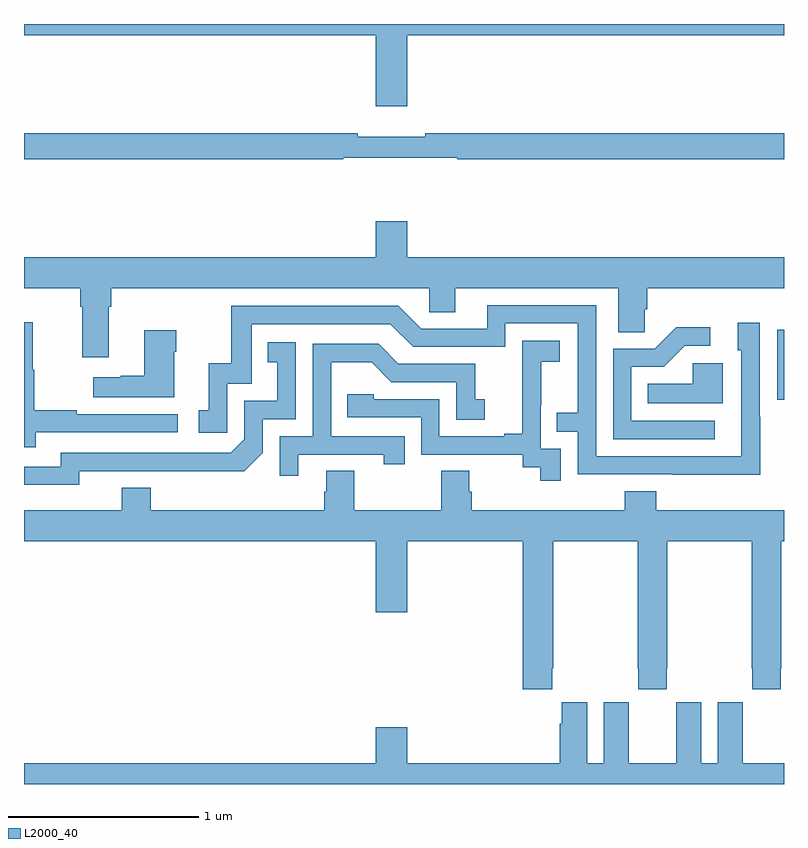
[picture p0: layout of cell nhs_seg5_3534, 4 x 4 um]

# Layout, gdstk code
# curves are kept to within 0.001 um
import gdstk
lib = gdstk.Library(unit=1e-6, precision=1e-09)
def R(c, l, rs):  # rectangles x0, y0, x1, y1
    for r in rs: c.add(gdstk.rectangle(r[:2], r[2:], *l))
def P(c, l, *ps):  # polygons
    for p in ps: c.add(gdstk.Polygon(p, *l))
L2000_40 = (2000, 40)

nhs_seg5_3534 = lib.new_cell('nhs_seg5_3534')
R(nhs_seg5_3534, L2000_40, [(322.965,874.821,323,875.19)])
P(nhs_seg5_3534, L2000_40, [(321.016,876.74),(323,876.74),(323,876.799),(319,876.799),(319,876.74),(320.852,876.74),(320.852,876.366),(321.016,876.366)],
  [(320.68,876.096),(321.28,876.096),(321.28,876.088),(323,876.088),(323,876.224),(321.112,876.224),(321.112,876.205),(320.756,876.205),(320.756,876.224),(319,876.224),(319,876.088),(320.68,876.088)],
  [(319.447,875.312),(319.46,875.312),(319.46,875.408),(321.132,875.408),(321.132,875.281),(321.271,875.281),(321.271,875.408),(322.127,875.408),(322.127,875.176),(322.266,875.176),(322.266,875.299),(322.28,875.299),(322.28,875.408),(323,875.408),(323,875.572),(321.016,875.572),(321.016,875.761),(320.852,875.761),(320.852,875.572),(319,875.572),(319,875.408),(319.295,875.408),(319.295,875.312),(319.307,875.312),(319.307,875.046),(319.447,875.046)],
  [(322.875,874.733),(322.872,874.733),(322.872,875.227),(322.757,875.227),(322.757,875.082),(322.776,875.082),(322.775,874.524),(322.011,874.524),(322.011,875.319),(321.437,875.319),(321.437,875.196),(321.09,875.196),(320.97,875.316),(320.091,875.316),(320.091,875.014),(319.973,875.014),(319.973,874.767),(319.92,874.767),(319.92,874.647),(320.07,874.647),(320.07,874.905),(320.199,874.905),(320.199,875.22),(320.928,875.22),(321.048,875.1),(321.534,875.1),(321.534,875.223),(321.915,875.223),(321.915,874.754),(321.805,874.754),(321.805,874.653),(321.915,874.653),(321.915,874.428),(322.875,874.427)],
  [(319.061,874.65),(319.81,874.65),(319.81,874.746),(319.277,874.746),(319.277,874.766),(319.054,874.766),(319.054,874.98),(319.046,874.98),(319.046,875.23),(319,875.23),(319,874.572),(319.061,874.572)],
  [(322.636,874.71),(322.197,874.71),(322.197,874.995),(322.366,874.995),(322.477,875.106),(322.612,875.106),(322.612,875.204),(322.433,875.204),(322.32,875.091),(322.101,875.091),(322.101,874.614),(322.636,874.614)],
  [(319.792,875.075),(319.8,875.075),(319.8,875.188),(319.634,875.188),(319.634,874.949),(319.508,874.949),(319.508,874.939),(319.365,874.939),(319.365,874.835),(319.792,874.835)],
  [(321.825,874.563),(321.72,874.563),(321.72,874.793),(321.722,874.793),(321.722,875.021),(321.82,875.021),(321.82,875.131),(321.622,875.131),(321.622,874.925),(321.623,874.925),(321.623,874.642),(321.527,874.642),(321.527,874.629),(321.186,874.629),(321.186,874.824),(320.841,874.824),(320.841,874.851),(320.701,874.851),(320.701,874.728),(321.09,874.728),(321.09,874.533),(321.624,874.533),(321.624,874.465),(321.717,874.465),(321.717,874.395),(321.825,874.395)],
  [(319.29,874.446),(320.158,874.445),(320.256,874.542),(320.256,874.719),(320.43,874.719),(320.43,875.125),(320.284,875.125),(320.284,875.019),(320.333,875.019),(320.333,874.815),(320.16,874.815),(320.16,874.614),(320.088,874.542),(319.194,874.542),(319.194,874.47),(319,874.47),(319,874.373),(319.29,874.373)],
  [(320.443,874.533),(320.894,874.533),(320.894,874.482),(321.005,874.482),(321.005,874.629),(320.616,874.629),(320.616,875.018),(320.83,875.018),(320.934,874.914),(321.276,874.914),(321.276,874.716),(321.424,874.716),(321.424,874.825),(321.375,874.825),(321.375,875.01),(320.971,875.01),(320.866,875.115),(320.52,875.115),(320.52,874.629),(320.346,874.629),(320.346,874.422),(320.443,874.422)],
  [(322.678,875.014),(322.521,875.014),(322.521,874.906),(322.282,874.906),(322.282,874.802),(322.678,874.802)],
  [(321.779,873.409),(321.786,873.409),(321.786,874.076),(322.231,874.076),(322.231,873.409),(322.233,873.409),(322.233,873.297),(322.383,873.297),(322.383,873.409),(322.386,873.409),(322.386,874.076),(322.831,874.076),(322.831,873.409),(322.833,873.409),(322.833,873.297),(322.983,873.297),(322.983,873.409),(322.986,873.409),(322.986,874.076),(323,874.076),(323,874.24),(322.328,874.24),(322.328,874.339),(322.163,874.339),(322.163,874.24),(321.356,874.24),(321.356,874.338),(321.343,874.338),(321.343,874.448),(321.196,874.448),(321.196,874.24),(320.739,874.24),(320.739,874.448),(320.591,874.448),(320.591,874.338),(320.579,874.338),(320.579,874.24),(319.667,874.24),(319.667,874.357),(319.514,874.357),(319.514,874.24),(319,874.24),(319,874.076),(320.852,874.076),(320.852,873.702),(321.016,873.702),(321.016,874.076),(321.626,874.076),(321.626,873.297),(321.779,873.297)],
  [(323,872.908),(322.783,872.908),(322.783,873.116),(322.782,873.116),(322.782,873.229),(322.652,873.229),(322.652,872.908),(322.564,872.908),(322.564,873.229),(322.434,873.229),(322.434,873.116),(322.433,873.116),(322.433,872.908),(322.183,872.908),(322.183,873.116),(322.182,873.116),(322.182,873.229),(322.052,873.229),(322.052,872.908),(321.964,872.908),(321.964,873.229),(321.83,873.229),(321.83,873.116),(321.821,873.116),(321.821,872.908),(321.016,872.908),(321.016,873.097),(320.852,873.097),(320.852,872.908),(319,872.908),(319,872.799),(323,872.799)])

lib.write_gds('nhs_seg5_3534.gds')
